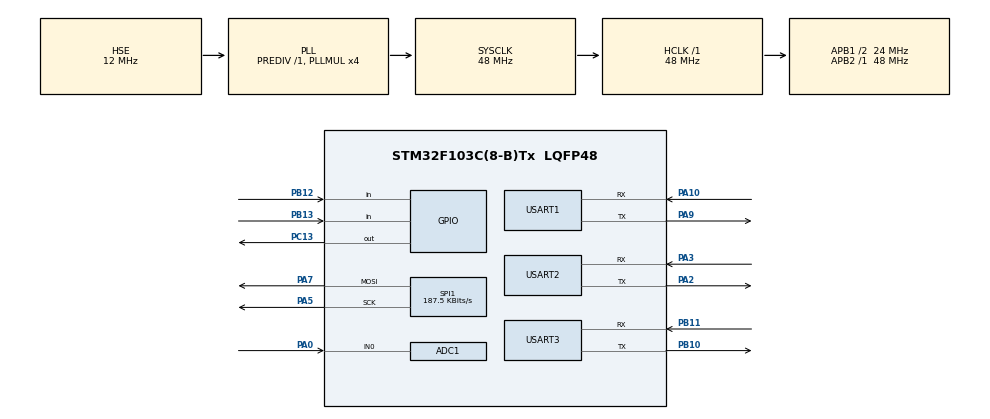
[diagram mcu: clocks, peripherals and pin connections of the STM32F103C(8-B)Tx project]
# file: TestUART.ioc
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ADC1.Channel-4\#ChannelRegularConversion=ADC_CHANNEL_0
ADC1.ContinuousConvMode=ENABLE
ADC1.NbrOfConversionFlag=1
ADC1.Rank-4\#ChannelRegularConversion=1
ADC1.SamplingTime-4\#ChannelRegularConversion=ADC_SAMPLETIME_71CYCLES_5
ADC1.master=1
Mcu.Family=STM32F1
Mcu.Name=STM32F103C(8-B)Tx
Mcu.Package=LQFP48
NVIC.ADC1_2_IRQn=true\:0\:0\:false\:false\:true\:true
NVIC.PriorityGroup=NVIC_PRIORITYGROUP_4
PA0-WKUP.Signal=ADCx_IN0
PA10.Mode=Asynchronous
PA10.Signal=USART1_RX
PA13.Mode=Serial_Wire
PA13.Signal=SYS_JTMS-SWDIO
PA14.Mode=Serial_Wire
PA14.Signal=SYS_JTCK-SWCLK
PA2.Mode=Asynchronous
PA2.Signal=USART2_TX
PA3.Mode=Asynchronous
PA3.Signal=USART2_RX
PA5.Mode=TX_Only_Simplex_Unidirect_Master
PA5.Signal=SPI1_SCK
PA7.Mode=TX_Only_Simplex_Unidirect_Master
PA7.Signal=SPI1_MOSI
PA9.Mode=Asynchronous
PA9.Signal=USART1_TX
PB10.Mode=Asynchronous
PB10.Signal=USART3_TX
PB11.Mode=Asynchronous
PB11.Signal=USART3_RX
PB12.GPIO_PuPd=GPIO_PULLUP
PB12.Signal=GPIO_Input
PB13.GPIO_PuPd=GPIO_PULLUP
PB13.Signal=GPIO_Input
PC13-TAMPER-RTC.Signal=GPIO_Output
PD0-OSC_IN.Mode=HSE-External-Oscillator
PD0-OSC_IN.Signal=RCC_OSC_IN
PD1-OSC_OUT.Mode=HSE-External-Oscillator
PD1-OSC_OUT.Signal=RCC_OSC_OUT
ProjectManager.HeapSize=0x200
ProjectManager.StackSize=0x400
ProjectManager.TargetToolchain=Makefile
RCC.ADCPresc=RCC_ADCPCLK2_DIV6
RCC.AHBFreq_Value=48000000
RCC.APB1CLKDivider=RCC_HCLK_DIV2
RCC.APB1Freq_Value=24000000
RCC.APB1TimFreq_Value=48000000
RCC.APB2Freq_Value=48000000
RCC.APB2TimFreq_Value=48000000
RCC.HCLKFreq_Value=48000000
RCC.HSE_VALUE=12000000
RCC.PLLMUL=RCC_PLL_MUL4
RCC.PLLSourceVirtual=RCC_PLLSOURCE_HSE
RCC.SYSCLKFreq_VALUE=48000000
RCC.SYSCLKSource=RCC_SYSCLKSOURCE_PLLCLK
RCC.USBFreq_Value=48000000
SH.ADCx_IN0.0=ADC1_IN0,IN0
SPI1.BaudRatePrescaler=SPI_BAUDRATEPRESCALER_256
SPI1.CalculateBaudRate=187.5 KBits/s
SPI1.Direction=SPI_DIRECTION_2LINES
SPI1.Mode=SPI_MODE_MASTER
SPI1.VirtualType=VM_MASTER
USART1.VirtualMode=VM_ASYNC
USART2.VirtualMode=VM_ASYNC
USART3.VirtualMode=VM_ASYNC
board=TestUART

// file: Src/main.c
/**
  ******************************************************************************
  * @file           : main.c
  * @brief          : Main program body
  ******************************************************************************
  ** This notice applies to any and all portions of this file
  * that are not between comment pairs USER CODE BEGIN and
  * USER CODE END. Other portions of this file, whether
  * inserted by the user or by software development tools
  * are owned by their respective copyright owners.
  *
  * COPYRIGHT(c) 2018 STMicroelectronics
  *
  * Redistribution and use in source and binary forms, with or without modification,
  * are permitted provided that the following conditions are met:
  *   1. Redistributions of source code must retain the above copyright notice,
  *      this list of conditions and the following disclaimer.
  *   2. Redistributions in binary form must reproduce the above copyright notice,
  *      this list of conditions and the following disclaimer in the documentation
  *      and/or other materials provided with the distribution.
  *   3. Neither the name of STMicroelectronics nor the names of its contributors
  *      may be used to endorse or promote products derived from this software
  *      without specific prior written permission.
  *
  * THIS SOFTWARE IS PROVIDED BY THE COPYRIGHT HOLDERS AND CONTRIBUTORS "AS IS"
  * AND ANY EXPRESS OR IMPLIED WARRANTIES, INCLUDING, BUT NOT LIMITED TO, THE
  * IMPLIED WARRANTIES OF MERCHANTABILITY AND FITNESS FOR A PARTICULAR PURPOSE ARE
  * DISCLAIMED. IN NO EVENT SHALL THE COPYRIGHT HOLDER OR CONTRIBUTORS BE LIABLE
  * FOR ANY DIRECT, INDIRECT, INCIDENTAL, SPECIAL, EXEMPLARY, OR CONSEQUENTIAL
  * DAMAGES (INCLUDING, BUT NOT LIMITED TO, PROCUREMENT OF SUBSTITUTE GOODS OR
  * SERVICES; LOSS OF USE, DATA, OR PROFITS; OR BUSINESS INTERRUPTION) HOWEVER
  * CAUSED AND ON ANY THEORY OF LIABILITY, WHETHER IN CONTRACT, STRICT LIABILITY,
  * OR TORT (INCLUDING NEGLIGENCE OR OTHERWISE) ARISING IN ANY WAY OUT OF THE USE
  * OF THIS SOFTWARE, EVEN IF ADVISED OF THE POSSIBILITY OF SUCH DAMAGE.
  *
  ******************************************************************************
  */
#include "main.h"
#include "stm32f1xx_hal.h"
#include "adc.h"
#include "spi.h"
#include "usart.h"
#include "gpio.h"

/* USER CODE BEGIN PV */
/* Private variables ---------------------------------------------------------*/

struct sLED {
	uint8_t brightness;
	uint8_t blue;
	uint8_t green;
	uint8_t red; };

#define LED_COUNT 6

struct sLED led[LED_COUNT];

volatile uint32_t ticks=0;
uint32_t last_ticks = 0;
uint32_t ticks_last_sync = 0;

/* USER CODE END PV */

void SystemClock_Config(void);

/* USER CODE BEGIN PFP */
/* Private function prototypes -----------------------------------------------*/
/*****************************************
 * SERIAL OUTPUT BEGIN
 *****************************************/

int _write(int file, char *data, int len)
{

   // arbitrary timeout 1000
   HAL_StatusTypeDef status =
      HAL_UART_Transmit(&huart3, (uint8_t*)data, len, 1000);

   // return # of bytes written - as best we can tell
   return (status == HAL_OK ? len : 0);
}
/*****************************************
 * SERIAL OUTPUT END
 *****************************************/

/* USER CODE END PFP */

/* USER CODE BEGIN 0 */
void HAL_SYSTICK_Callback(void)
{
	ticks++;
}

uint32_t math_calc_diff(uint32_t value1, uint32_t value2) {
	if (value1 == value2) {
		return 0;
	}
	if (value1 > value2) {
		return (value1 - value2);
	}
	else {
		// check for overflow
		return (0xffffffff - value2 + value1);
	}
}

void set_led(uint8_t index, uint8_t brightness, uint8_t red, uint8_t green, uint8_t blue) {
	if (index == 255) {
		for(int i=0; i < LED_COUNT; i++) {
			led[i].brightness = 0b11100000 | brightness;
			led[i].blue = blue;
			led[i].green = green;
			led[i].red = red;
		}
	}
	if (index < LED_COUNT) {
		led[index].brightness = 0b11100011 | brightness;
		led[index].blue = blue;
		led[index].green = green;
		led[index].red = red;
	}
}

void init_led() {
	set_led(255,0,0,0,0);
}

void sync_led() {
	uint8_t emptyFrame[4] = {0x00,0x00,0x00,0x00};
	HAL_SPI_Transmit(&hspi1, emptyFrame, 4, 100);
	HAL_SPI_Transmit(&hspi1, (uint8_t *) led, 4*LED_COUNT, 100);
	HAL_SPI_Transmit(&hspi1, emptyFrame, 4, 100);
}

/* USER CODE END 0 */

int main(void)
{

  /* MCU Configuration----------------------------------------------------------*/

  /* Reset of all peripherals, Initializes the Flash interface and the Systick. */
  HAL_Init();

  /* Configure the system clock */
  SystemClock_Config();

  /* Initialize all configured peripherals */
  MX_GPIO_Init();
  MX_USART1_UART_Init();
  MX_USART2_UART_Init();
  MX_USART3_UART_Init();
  MX_ADC1_Init();
  MX_SPI1_Init();
  /* USER CODE BEGIN 2 */

  printf("Starting ...\r\n");

  init_led();
  set_led(0, 1, 255,0,0);
  set_led(1, 1, 0, 255,0);
  set_led(2, 1, 0, 0, 255);
  set_led(3, 1, 255,0,0);
  set_led(4, 1, 255,255,0);
  set_led(5, 1, 255,50,0);
  //set_led(255, 16, 255,0,0);
  /* USER CODE END 2 */

  /* Infinite loop */
  /* USER CODE BEGIN WHILE */
  while (1)
  {
	  // each x ms
	  if (math_calc_diff(ticks, last_ticks) > 200) {
		  last_ticks = ticks;
		  // blink LED
		  HAL_GPIO_TogglePin(GPIOC, GPIO_PIN_13);
	  }

	  if (math_calc_diff(ticks, ticks_last_sync) > 1000) {
		  ticks_last_sync = ticks;
		  // sync SK9822
		  sync_led();
	  }

  /* USER CODE END WHILE */

  }

}

void SystemClock_Config(void)
{

  RCC_OscInitTypeDef RCC_OscInitStruct;
  RCC_ClkInitTypeDef RCC_ClkInitStruct;
  RCC_PeriphCLKInitTypeDef PeriphClkInit;

    /**Initializes the CPU, AHB and APB busses clocks
    */
  RCC_OscInitStruct.OscillatorType = RCC_OSCILLATORTYPE_HSE;
  RCC_OscInitStruct.HSEState = RCC_HSE_ON;
  RCC_OscInitStruct.HSEPredivValue = RCC_HSE_PREDIV_DIV1;
  RCC_OscInitStruct.HSIState = RCC_HSI_ON;
  RCC_OscInitStruct.PLL.PLLState = RCC_PLL_ON;
  RCC_OscInitStruct.PLL.PLLSource = RCC_PLLSOURCE_HSE;
  RCC_OscInitStruct.PLL.PLLMUL = RCC_PLL_MUL4;
  if (HAL_RCC_OscConfig(&RCC_OscInitStruct) != HAL_OK)
  {
    _Error_Handler(__FILE__, __LINE__);
  }

    /**Initializes the CPU, AHB and APB busses clocks
    */
  RCC_ClkInitStruct.ClockType = RCC_CLOCKTYPE_HCLK|RCC_CLOCKTYPE_SYSCLK
                              |RCC_CLOCKTYPE_PCLK1|RCC_CLOCKTYPE_PCLK2;
  RCC_ClkInitStruct.SYSCLKSource = RCC_SYSCLKSOURCE_PLLCLK;
  RCC_ClkInitStruct.AHBCLKDivider = RCC_SYSCLK_DIV1;
  RCC_ClkInitStruct.APB1CLKDivider = RCC_HCLK_DIV2;
  RCC_ClkInitStruct.APB2CLKDivider = RCC_HCLK_DIV1;

  if (HAL_RCC_ClockConfig(&RCC_ClkInitStruct, FLASH_LATENCY_1) != HAL_OK)
  {
    _Error_Handler(__FILE__, __LINE__);
  }

  PeriphClkInit.PeriphClockSelection = RCC_PERIPHCLK_ADC;
  PeriphClkInit.AdcClockSelection = RCC_ADCPCLK2_DIV6;
  if (HAL_RCCEx_PeriphCLKConfig(&PeriphClkInit) != HAL_OK)
  {
    _Error_Handler(__FILE__, __LINE__);
  }

    /**Configure the Systick interrupt time
    */
  HAL_SYSTICK_Config(HAL_RCC_GetHCLKFreq()/1000);

    /**Configure the Systick
    */
  HAL_SYSTICK_CLKSourceConfig(SYSTICK_CLKSOURCE_HCLK);

  /* SysTick_IRQn interrupt configuration */
  HAL_NVIC_SetPriority(SysTick_IRQn, 0, 0);
}

void _Error_Handler(char *file, int line)
{
  while(1)
  {
  }
}

/************************ (C) COPYRIGHT STMicroelectronics *****END OF FILE****/
